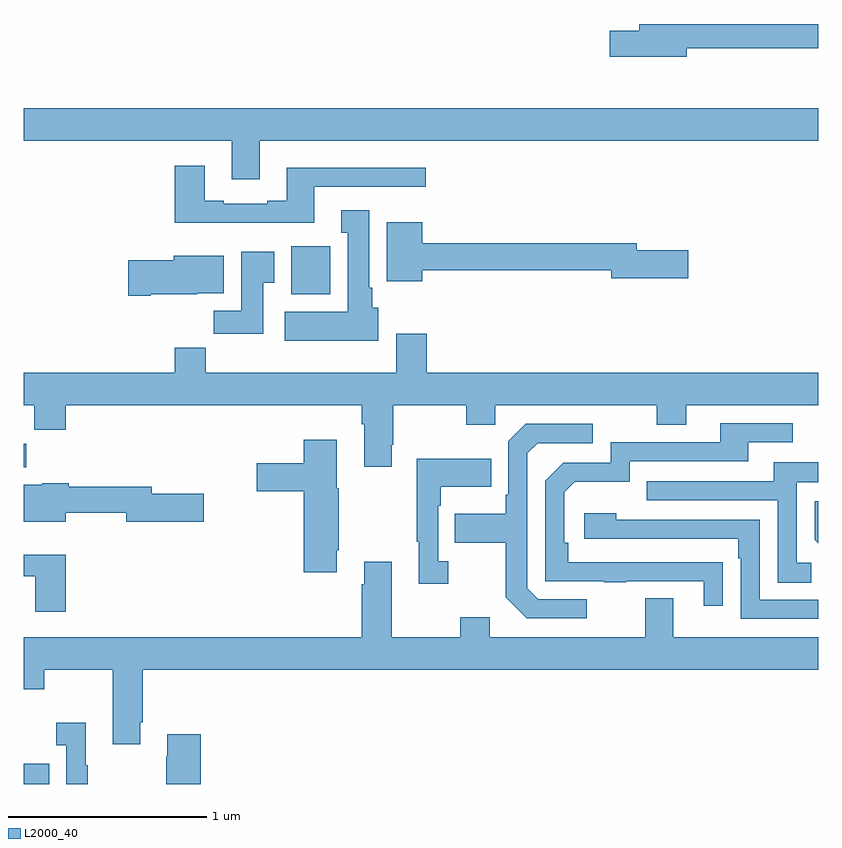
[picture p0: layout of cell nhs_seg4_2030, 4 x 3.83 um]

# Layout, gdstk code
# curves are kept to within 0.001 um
import gdstk
lib = gdstk.Library(unit=1e-6, precision=1e-09)
def R(c, l, rs):  # rectangles x0, y0, x1, y1
    for r in rs: c.add(gdstk.rectangle(r[:2], r[2:], *l))
def P(c, l, *ps):  # polygons
    for p in ps: c.add(gdstk.Polygon(p, *l))
L2000_40 = (2000, 40)

nhs_seg4_2030 = lib.new_cell('nhs_seg4_2030')
R(nhs_seg4_2030, L2000_40, [(215,806.9,215.129,807.003), (215,808.496,215.012,808.614), (216.347,809.366,216.544,809.608)])
P(nhs_seg4_2030, L2000_40, [(218.338,810.606),(219,810.606),(219,810.727),(218.099,810.727),(218.099,810.693),(217.95,810.693),(217.95,810.563),(218.338,810.563)],
  [(216.187,810.14),(219,810.14),(219,810.304),(215,810.304),(215,810.14),(216.047,810.14),(216.047,809.946),(216.187,809.946)],
  [(216.463,809.907),(217.024,809.907),(217.024,810.004),(216.323,810.004),(216.323,809.836),(216.227,809.836),(216.227,809.823),(216.007,809.823),(216.007,809.836),(215.911,809.836),(215.911,810.013),(215.759,810.013),(215.759,809.726),(216.463,809.726)],
  [(216.784,809.298),(216.754,809.298),(216.754,809.398),(216.739,809.398),(216.739,809.788),(216.599,809.788),(216.599,809.675),(216.632,809.675),(216.632,809.278),(216.315,809.278),(216.315,809.132),(216.784,809.132)],
  [(217.006,809.488),(217.958,809.488),(217.958,809.446),(218.347,809.446),(218.347,809.588),(218.086,809.588),(218.086,809.624),(217.006,809.624),(217.006,809.728),(216.827,809.728),(216.827,809.432),(217.006,809.432)],
  [(216.205,809.425),(216.262,809.425),(216.262,809.581),(216.095,809.581),(216.095,809.284),(215.956,809.284),(215.956,809.166),(216.205,809.166)],
  [(215.638,809.366),(215.874,809.366),(215.874,809.372),(216.007,809.372),(216.007,809.56),(215.756,809.56),(215.756,809.537),(215.526,809.537),(215.526,809.359),(215.638,809.359)],
  [(216.853,808.609),(216.861,808.609),(216.861,808.808),(217.228,808.808),(217.228,808.709),(217.374,808.709),(217.374,808.808),(218.188,808.808),(218.188,808.709),(218.335,808.709),(218.335,808.808),(219,808.808),(219,808.972),(217.028,808.972),(217.028,809.167),(216.875,809.167),(216.875,808.972),(215.915,808.972),(215.915,809.096),(215.759,809.096),(215.759,808.972),(215,808.972),(215,808.808),(215.053,808.808),(215.053,808.684),(215.21,808.684),(215.21,808.808),(216.701,808.808),(216.701,808.712),(216.713,808.712),(216.713,808.497),(216.853,808.497)],
  [(218.519,808.016),(217.742,808.017),(217.742,808.114),(217.722,808.114),(217.722,808.368),(217.775,808.421),(218.052,808.421),(218.052,808.524),(218.647,808.524),(218.647,808.62),(218.872,808.62),(218.872,808.716),(218.507,808.716),(218.507,808.62),(217.956,808.62),(217.956,808.518),(217.716,808.518),(217.626,808.428),(217.626,807.921),(217.921,807.921),(217.921,807.916),(218.033,807.916),(218.033,807.921),(218.423,807.921),(218.423,807.798),(218.519,807.798)],
  [(217.834,807.831),(217.59,807.831),(217.536,807.885),(217.536,808.566),(217.587,808.617),(217.864,808.617),(217.864,808.713),(217.527,808.713),(217.44,808.626),(217.44,808.357),(217.428,808.357),(217.428,808.261),(217.171,808.261),(217.171,808.114),(217.428,808.114),(217.428,807.841),(217.533,807.735),(217.834,807.735)],
  [(216.577,808.078),(216.585,808.078),(216.585,808.389),(216.577,808.389),(216.577,808.633),(216.41,808.633),(216.41,808.515),(216.174,808.515),(216.174,808.373),(216.41,808.373),(216.41,807.966),(216.577,807.966)],
  [(217.138,808.022),(217.086,808.022),(217.086,808.301),(217.099,808.301),(217.099,808.397),(217.355,808.397),(217.355,808.537),(216.978,808.537),(216.978,808.121),(216.989,808.121),(216.989,807.909),(217.138,807.909)],
  [(218.965,808.014),(218.892,808.014),(218.892,808.419),(219,808.419),(219,808.519),(218.777,808.519),(218.777,808.425),(218.137,808.425),(218.137,808.329),(218.796,808.329),(218.796,807.913),(218.965,807.913)],
  [(215.212,808.267),(215.516,808.267),(215.516,808.22),(215.905,808.22),(215.905,808.362),(215.644,808.362),(215.644,808.396),(215.225,808.396),(215.225,808.414),(215.094,808.414),(215.094,808.408),(215,808.408),(215,808.22),(215.212,808.22)],
  [(219,808.324),(218.982,808.324),(218.982,808.13),(219,808.112)],
  [(219,807.828),(218.706,807.828),(218.706,808.23),(217.982,808.23),(217.982,808.264),(217.821,808.264),(217.821,808.134),(218.597,808.134),(218.597,808.037),(218.61,808.037),(218.61,807.732),(219,807.732)],
  [(215.21,808.054),(215,808.054),(215,807.945),(215.057,807.945),(215.057,807.768),(215.21,807.768)],
  [(215.587,807.211),(215.6,807.211),(215.6,807.476),(219,807.476),(219,807.64),(218.269,807.64),(218.269,807.835),(218.129,807.835),(218.129,807.64),(217.345,807.64),(217.345,807.739),(217.198,807.739),(217.198,807.64),(216.853,807.64),(216.853,808.018),(216.713,808.018),(216.713,807.905),(216.701,807.905),(216.701,807.64),(215,807.64),(215,807.377),(215.103,807.377),(215.103,807.476),(215.447,807.476),(215.447,807.099),(215.587,807.099)],
  [(215.323,806.995),(215.311,806.995),(215.311,807.208),(215.163,807.208),(215.163,807.095),(215.214,807.095),(215.214,806.9),(215.323,806.9)],
  [(215.891,807.151),(215.723,807.151),(215.723,807.038),(215.716,807.038),(215.716,806.9),(215.891,806.9)])

lib.write_gds('nhs_seg4_2030.gds')
